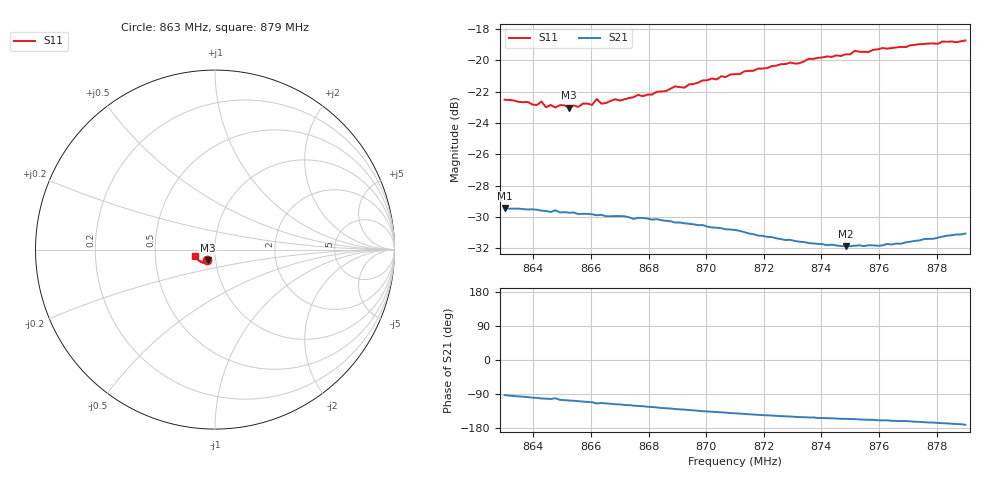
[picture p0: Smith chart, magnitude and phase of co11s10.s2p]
# HZ S RI R 50
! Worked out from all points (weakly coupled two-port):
!   101 points, 863 MHz to 879 MHz, reference 50 ohm
!   highest |S21| = -29.42 dB at 863 MHz (marker M1); lowest = -31.9 dB at 874.84 MHz (marker M2)
!   lowest |S11| = -23.0 dB at 865.24 MHz (marker M3), VSWR 1.15, Z = 45.9 - j5.41 ohm
!   |S11| at or under -10 dB: start of sweep to end of sweep
!   S12 and S22 are empty: the file has one direction only
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8.63e8  -0.0445 -0.0601  -0.00154 -0.0338  0 0  0 0
8.6412e8  -0.0415 -0.0588  -0.00578 -0.0329  0 0  0 0
8.6428e8  -0.0423 -0.0605  -0.00659 -0.0325  0 0  0 0
8.6444e8  -0.0402 -0.0583  -0.00686 -0.0323  0 0  0 0
8.6492e8  -0.0402 -0.0596  -0.00843 -0.0316  0 0  0 0
8.6524e8  -0.0391 -0.0587  -0.00953 -0.0312  0 0  0 0
8.654e8  -0.0386 -0.0605  -0.00987 -0.0312  0 0  0 0
8.6556e8  -0.0386 -0.0596  -0.0104 -0.0306  0 0  0 0
8.6572e8  -0.0377 -0.0622  -0.0109 -0.0305  0 0  0 0
8.6604e8  -0.0376 -0.0614  -0.0118 -0.03  0 0  0 0
8.662e8  -0.0413 -0.0629  -0.0133 -0.0291  0 0  0 0
8.6636e8  -0.0378 -0.062  -0.0128 -0.0295  0 0  0 0
8.6652e8  -0.0363 -0.0634  -0.0132 -0.0289  0 0  0 0
8.6844e8  -0.0407 -0.0683  -0.0184 -0.0248  0 0  0 0
8.71e8  -0.0533 -0.0729  -0.0222 -0.0182  0 0  0 0
8.7372e8  -0.0715 -0.0714  -0.0229 -0.0124  0 0  0 0
8.7484e8  -0.0807 -0.0664  -0.0232 -0.0107  0 0  0 0
8.75e8  -0.0812 -0.0656  -0.0233 -0.0105  0 0  0 0
8.7516e8  -0.0849 -0.0653  -0.0234 -0.0104  0 0  0 0
8.7564e8  -0.0861 -0.0622  -0.0238 -0.00971  0 0  0 0
8.7644e8  -0.0925 -0.0582  -0.0243 -0.00865  0 0  0 0
8.79e8  -0.1101 -0.0353  -0.0276 -0.00445  0 0  0 0
